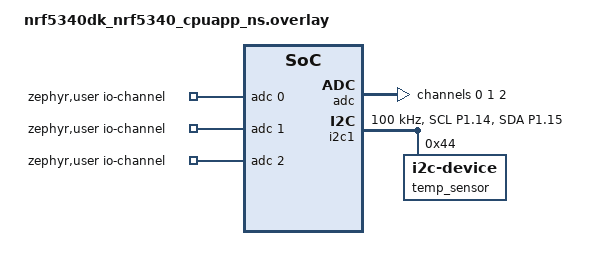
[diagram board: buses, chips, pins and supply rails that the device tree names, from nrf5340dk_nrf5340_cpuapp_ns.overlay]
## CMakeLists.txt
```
cmake_minimum_required(VERSION 3.20.0)
find_package(Zephyr REQUIRED HINTS $ENV{ZEPHYR_BASE})

project(firmware)

target_sources(app PRIVATE src/main.c)
target_sources_ifdef(CONFIG_MILLIMOBILE_MODE_SWITCHING app PRIVATE src/mode.c)
target_sources_ifdef(CONFIG_MILLIMOBILE_ADV app PRIVATE src/adv.c)
target_sources_ifdef(CONFIG_MILLIMOBILE_SYNC app PRIVATE src/sync.c)
target_sources_ifdef(CONFIG_MILLIMOBILE_CMD app PRIVATE src/cmdParser.c)
```

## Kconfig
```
source "Kconfig.zephyr"
menu "MilliMobile"

config MILLIMOBILE_MODE_SWITCHING
	bool "Enable Mode Switching"
	default n

config MILLIMOBILE_ADV
	bool "Enable Advertisement"
	depends on MILLIMOBILE_MODE_SWITCHING
	default n

config MILLIMOBILE_SYNC
	bool "Enable Sync"
	depends on MILLIMOBILE_MODE_SWITCHING
	default n

config MILLIMOBILE_CMD
	bool "Enable command parsing"
	depends on MILLIMOBILE_MODE_SWITCHING
	default n

config MILLIMOBILE_DEV_KIT
	bool "Enable devkit options"
	select LOGGING
	default n

config MILLIMOBILE_BOT
	bool "Enable bot options"
	depends on !MILLIMOBILE_DEV_KIT
	select ADC
	select GPIO
	default n  

config LOGGING
	bool "Enable Logging"
	select LOG
	select LOG_BACKEND_SHOW_COLOR
	select LOG_PRINTK
	default n

config RTT
	bool "Enable RTT"
	select RTT_CONSOLE
	select USE_SEGGER_RTT
	select LOG_BACKEND_RTT
	select LOGGING
endmenu
```

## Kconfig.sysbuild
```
#
# Copyright (c) 2023 Nordic Semiconductor
#
# SPDX-License-Identifier: LicenseRef-Nordic-5-Clause
#

source "${ZEPHYR_BASE}/share/sysbuild/Kconfig"

config NRF_DEFAULT_IPC_RADIO
	default y
```

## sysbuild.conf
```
#
# Copyright (c) 2024 Nordic Semiconductor
#
# SPDX-License-Identifier: LicenseRef-Nordic-5-Clause
#
SB_CONFIG_NETCORE_IPC_RADIO=y
SB_CONFIG_NETCORE_IPC_RADIO_BT_HCI_IPC=y
```

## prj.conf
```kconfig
CONFIG_GPIO=y
CONFIG_ADC=y
CONFIG_I2C=y

CONFIG_CBPRINTF_FP_SUPPORT=y

CONFIG_TFM_SECURE_UART=n
CONFIG_TFM_LOG_LEVEL_SILENCE=y

CONFIG_BT=y
CONFIG_BT_OBSERVER=y
CONFIG_BT_BROADCASTER=y
CONFIG_BT_PER_ADV=y
CONFIG_BT_EXT_ADV=y
CONFIG_BT_PER_ADV_SYNC=y
CONFIG_BT_DEVICE_NAME="MilliMobile"

CONFIG_BT_MAX_CONN=1
CONFIG_BT_PERIPHERAL=y
CONFIG_BT_CENTRAL=y
CONFIG_BT_PER_ADV_SYNC_TRANSFER_SENDER=y
CONFIG_BT_PER_ADV_SYNC_TRANSFER_RECEIVER=y

CONFIG_BT_PER_ADV_RSP=y
CONFIG_BT_PER_ADV_SYNC_RSP=y
CONFIG_BT_PER_ADV_SYNC_BUF_SIZE=247

CONFIG_BT_REMOTE_INFO=y
CONFIG_BT_GATT_CLIENT=y

CONFIG_MILLIMOBILE_MODE_SWITCHING=y
CONFIG_MILLIMOBILE_ADV=y
CONFIG_MILLIMOBILE_SYNC=y
CONFIG_MILLIMOBILE_CMD=y
```

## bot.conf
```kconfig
# bot.conf
# Configuration file for the Millimobile bot. Add this 
# to the "extra Kconfig fragments" option in the build configuration

# Select the bot profile from Kconfig
CONFIG_MILLIMOBILE_BOT=y

# Disable the serial console to achieve low power
CONFIG_SERIAL=n
CONFIG_UART_CONSOLE=n

# If you need logging set the config below
# to enable (=y) RTT communication
CONFIG_RTT=n
```

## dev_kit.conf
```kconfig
# dev_kit.conf

# Select the dev kit profile from Kconfig
CONFIG_MILLIMOBILE_DEV_KIT=y

# Enable the UART console for debugging and log output
CONFIG_SERIAL=y
CONFIG_UART_CONSOLE=y
CONFIG_LOG_BACKEND_UART=y
```

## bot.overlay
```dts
&uart0 {
    status = "disabled";
};

&uart1 {
    status = "disabled";
};
```

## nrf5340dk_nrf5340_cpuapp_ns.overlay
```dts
// To get started, press Ctrl+Space to bring up the completion menu and view the available nodes.

// You can also use the buttons in the sidebar to perform actions on nodes.
// Actions currently available include:

// * Enabling / disabling the node
// * Adding the bus to a bus
// * Removing the node
// * Connecting ADC channels

// For more help, browse the DeviceTree documentation at https://docs.zephyrproject.org/latest/guides/dts/index.html
// You can also visit the nRF DeviceTree extension documentation at https://docs.nordicsemi.com/bundle/nrf-connect-vscode/page/guides/ncs_configure_app.html#devicetree-support-in-the-extension
// To get started, press Ctrl+Space (or Option+Esc) to bring up the completion menu and view the available nodes.

// You can also use the buttons in the sidebar to perform actions on nodes.
// Actions currently available include:

// * Enabling / disabling the node
// * Adding the bus to a bus
// * Removing the node
// * Connecting ADC channels

// For more help, browse the DeviceTree documentation at https://docs.zephyrproject.org/latest/guides/dts/index.html
// You can also visit the nRF DeviceTree extension documentation at https://nrfconnect.github.io/vscode-nrf-connect/devicetree/nrfdevicetree.html
/ {
	zephyr,user {
		io-channels = <&adc 0>, <&adc 1>, <&adc 2>;
	};
};

&adc {
	#address-cells = <1>;
	#size-cells = <0>;

	channel@0 {
		reg = <0>;
		zephyr,gain = "ADC_GAIN_1_6";
		zephyr,reference = "ADC_REF_INTERNAL";
		zephyr,acquisition-time = <ADC_ACQ_TIME(ADC_ACQ_TIME_MICROSECONDS, 40)>;
		zephyr,input-positive = <NRF_SAADC_AIN0>;
        zephyr,resolution = < 12 >;
	};

	channel@1 {
		reg = <1>;
		zephyr,gain = "ADC_GAIN_1_6";
		zephyr,reference = "ADC_REF_INTERNAL";
		zephyr,acquisition-time = <ADC_ACQ_TIME(ADC_ACQ_TIME_MICROSECONDS, 40)>;
		zephyr,input-positive = <NRF_SAADC_AIN1>;
        zephyr,resolution = < 12 >;
	};

	channel@2 {
		reg = <2>;
		zephyr,gain = "ADC_GAIN_1_6";
		zephyr,reference = "ADC_REF_INTERNAL";
		zephyr,acquisition-time = <ADC_ACQ_TIME(ADC_ACQ_TIME_MICROSECONDS, 40)>;
		zephyr,input-positive = <NRF_SAADC_AIN2>;
        zephyr,resolution = < 12 >;
	};
};

&i2c1 { //Driver for I2C device

    clock-frequency = <I2C_BITRATE_STANDARD>; //Set clock frequency to 100 kHz
    status = "okay";
    pinctrl-0 = <&i2c1_default>;
	pinctrl-1 = <&i2c1_sleep>;
    pinctrl-names = "default", "sleep";

    hdc3022: hdc3022r@44{ //Defines device and SDA register
        compatible = "i2c-device";
        reg = < 0x44 >;
        label = "temp_sensor";
    };
};

&pinctrl { //Set pins for I2C device connection
	/omit-if-no-ref/ i2c1_default: i2c1_default {
		group1  {
			psels = <NRF_PSEL(TWIM_SCL, 1, 14)>,
					<NRF_PSEL(TWIM_SDA, 1, 15)>;
		};
	};
	/omit-if-no-ref/ i2c1_sleep: i2c1_sleep {
		group1  {
			psels = <NRF_PSEL(TWIM_SCL, 1, 14)>,
					<NRF_PSEL(TWIM_SDA, 1, 15)>;
			low-power-enable;
		};
	};
};
```

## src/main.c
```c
#ifdef CONFIG_MILLIMOBILE_ADV
        #include "adv.h"
#endif
#ifdef CONFIG_MILLIMOBILE_SYNC
        #include "sync.h"
#endif
#ifdef CONFIG_MILLIMOBILE_MODE_SWITCHING
        #include "mode.h"
#endif
#ifdef CONFIG_MILLIMOBILE_CMD
        #include "cmdParser.h"
        uint8_t command = 0; // Default to temp sensor mode
#endif

#include <zephyr/kernel.h>
#include <zephyr/device.h>
#include <zephyr/devicetree.h>
#include <zephyr/logging/log.h>
#include <zephyr/bluetooth/bluetooth.h>
#include <zephyr/bluetooth/gap.h>
#include <zephyr/drivers/gpio.h>
#include <zephyr/pm/pm.h>
#include <zephyr/device.h>
#include <zephyr/sys/printk.h>
#include <zephyr/sys/time_units.h>

#include <zephyr/logging/log.h>
LOG_MODULE_REGISTER(Main,LOG_LEVEL_DBG);

/*Timing Constraints
ADC_TIME must be greater than the time it takes to read all ADC channels. readADC() is called ADC_TIME ms before robot_step() is called
MOTOR_SHUTOFF_TIME is the time the motors are left turned on after being triggered. This value must be smaller than ROBOT_STEP_TIME - ADC_TIME, 
        otherwise the ADC will be reading the motor capacitors while they are still being discharged
ROBOT_STEP_TIME is the time between robot steps. 
*/

//TIMING (all ms)
#define ADC_TIME 10 // Time delay to allow ADC reads of all channels
#define MOTOR_SHUTOFF_TIME 1 // Time delay to shutoff motors after being triggered
#define ROBOT_STEP_TIME 500 // Time delay between robot steps

// Define pins/state for capacitors
uint16_t cap_switch_state = 0; // 0: to supercap, 1: to motor cap
const struct device *gpio0;
const struct device *gpio1;
#define CAP_SWITCH_PIN 23  // gpio 0
#define MOTOR_1_CAP_PIN 13 // gpio 1
#define MOTOR_2_CAP_PIN 21 // gpio 0


int initCapGPIO()
{
        gpio0 = device_get_binding(DEVICE_DT_NAME(DT_NODELABEL(gpio0)));
        gpio1 = device_get_binding(DEVICE_DT_NAME(DT_NODELABEL(gpio1)));


        int cap_switch_pin_err;
        cap_switch_pin_err = gpio_pin_configure(gpio0, CAP_SWITCH_PIN, GPIO_OUTPUT | GPIO_OUTPUT_INIT_LOW);
        if(cap_switch_pin_err < 0) return -1;

#ifdef CONFIG_MILLIMOBILE_BOT
        int motor_1_cap_pin_err;
        int motor_2_cap_pin_err;
        motor_1_cap_pin_err = gpio_pin_configure(gpio1, MOTOR_1_CAP_PIN, GPIO_OUTPUT | GPIO_OUTPUT_INIT_LOW);
        motor_2_cap_pin_err = gpio_pin_configure(gpio0, MOTOR_2_CAP_PIN, GPIO_OUTPUT | GPIO_OUTPUT_INIT_LOW);
        if (motor_1_cap_pin_err < 0 || motor_2_cap_pin_err < 0) return -1;
#endif
       // printk("GPIO initialized\n");

        return 0;
}


#ifdef CONFIG_MILLIMOBILE_BOT

// Motion State (Left, Right, Straight)
#define STRAIGHT 0
#define LEFT 1
#define RIGHT 2
#define STOP 3
uint16_t motion_state = STRAIGHT;

void robot_step(struct k_work *work);

K_WORK_DEFINE(robot_step_work, robot_step);

void robot_step_timer_handler(struct k_timer *dummy)
{
        k_work_submit(&robot_step_work);
}
K_TIMER_DEFINE(robot_step_timer, robot_step_timer_handler, NULL);

void motorShutoff(struct k_work *work)
{
        gpio_pin_set(gpio1, MOTOR_1_CAP_PIN, 0);
        gpio_pin_set(gpio0, MOTOR_2_CAP_PIN, 0);
}

K_WORK_DEFINE(motor_shutoff_work, motorShutoff);

void motor_shutoff_timer_handler(struct k_timer *dummy)
{
        k_work_submit(&motor_shutoff_work);
}
K_TIMER_DEFINE(motor_shutoff_timer, motor_shutoff_timer_handler, NULL);


void robot_step(struct k_work *work)
{       
        if(adc_outputs_mv[SUPER_CAP_IDX] <= SUPER_CAP_THRESHOLD){
                gpio_pin_set(gpio0, CAP_SWITCH_PIN, 0);
                //printk("Switching to supercap\n");
        }
        else
        {
                gpio_pin_set(gpio0, CAP_SWITCH_PIN, 1);
                //printk("Switching to motor caps\n");
                if(adc_outputs_mv[MOTOR_CAP_0_IDX] >= MOTOR_CAP_RELEASE_THRESHOLD && adc_outputs_mv[MOTOR_CAP_1_IDX] >= MOTOR_CAP_RELEASE_THRESHOLD){
                        switch (motion_state)
                        {
                        case STRAIGHT:
                                gpio_pin_set(gpio1, MOTOR_1_CAP_PIN, 1);
                                gpio_pin_set(gpio0, MOTOR_2_CAP_PIN, 1);
                                break;
                        
                        case LEFT:
                                gpio_pin_set(gpio0, MOTOR_2_CAP_PIN, 1);                    
                                break;
                        case RIGHT:
                                gpio_pin_set(gpio1, MOTOR_1_CAP_PIN, 1);
                                break;
                        case STOP:
                                /* do nothing lol */
                                break;
                        default:
                                break;  
                        }
                       // printk("motors triggered\n");
                        
                        k_timer_start(&motor_shutoff_timer, K_MSEC(MOTOR_SHUTOFF_TIME), K_NO_WAIT);
                }
        }
        k_timer_start(&adc_timer, K_MSEC(ROBOT_STEP_TIME - ADC_TIME), K_NO_WAIT);
        k_timer_start(&robot_step_timer, K_MSEC(ROBOT_STEP_TIME), K_NO_WAIT);
        //printk("Robot Step\n");
        return;
}
#endif


#ifdef CONFIG_MILLIMOBILE_DEV_KIT

#define SW0_NODE DT_ALIAS(sw0)
#define SW1_NODE DT_ALIAS(sw1)
#define SW2_NODE DT_ALIAS(sw2)
#define SW3_NODE DT_ALIAS(sw3)

static const struct gpio_dt_spec buttons[] = {
    GPIO_DT_SPEC_GET(SW0_NODE, gpios),
    GPIO_DT_SPEC_GET(SW1_NODE, gpios),
    GPIO_DT_SPEC_GET(SW2_NODE, gpios),
    GPIO_DT_SPEC_GET(SW3_NODE, gpios),
};

static struct gpio_callback button_cbs[ARRAY_SIZE(buttons)];

/* Callback for button 0 */
void button0_pressed(const struct device *dev, struct gpio_callback *cb, uint32_t pins){
        k_poll_signal_raise(&mode_switch_signal, 0);
        current_power_mode = POWER_LOW_MODE_NONE;
        printk("Button 0 pressed, new mode: %d\n", current_power_mode);
}

/* Callback for button 1 */
void button1_pressed(const struct device *dev, struct gpio_callback *cb, uint32_t pins){
        k_poll_signal_raise(&mode_switch_signal, 0);
        current_power_mode = POWER_MED_MODE_SYNC;
        printk("Button 1 pressed, new mode: %d\n", current_power_mode);
}


/* Callback for button 2 */
void button2_pressed(const struct device *dev, struct gpio_callback *cb, uint32_t pins){
        k_poll_signal_raise(&mode_switch_signal, 0);
        current_power_mode = POWER_HIGH_MODE_SYNC;
        printk("Button 2 pressed, new mode: %d\n", current_power_mode);
}

/* Callback for button 3 */
void button3_pressed(const struct device *dev, struct gpio_callback *cb, uint32_t pins){
        k_poll_signal_raise(&mode_switch_signal, 0);
        current_power_mode = POWER_HIGH_MODE_ADV;
        printk("Button 3 pressed, new mode: %d\n", current_power_mode);
}

/* Array of function pointers for button callbacks */
void (*button_callbacks[])(const struct device *, struct gpio_callback *, uint32_t) = {
    button0_pressed,
    button1_pressed,
    button2_pressed,
    button3_pressed,
};

static int init_buttons(void)
{
    for (int i = 0; i < ARRAY_SIZE(buttons); i++) {
        const struct gpio_dt_spec *btn = &buttons[i];

        if (!device_is_ready(btn->port)) {
            printk("Error: button %d port %s not ready\n", i, btn->port->name);
            return -1;
        }

        /* configure as input with interrupt on active edge */
        gpio_pin_configure_dt(btn, GPIO_INPUT);

        gpio_init_callback(&button_cbs[i], button_callbacks[i], BIT(btn->pin));
        gpio_add_callback(btn->port, &button_cbs[i]);
        gpio_pin_interrupt_configure_dt(btn, GPIO_INT_LEVEL_ACTIVE);
    }
    return 0;
}


#endif



// Global state 
int main(void){
        printk("Millimobile main started\n");
        int ret;

        if (initCapGPIO() != 0) return -1;

	if (initMode() != 0) return -1;

#ifdef CONFIG_MILLIMOBILE_DEV_KIT
        if(init_buttons() != 0) return -1;
#endif
	k_timer_start(&adc_timer, K_MSEC(ADC_TIME), K_NO_WAIT);

#ifdef CONFIG_MILLIMOBILE_BOT
        k_timer_start(&robot_step_timer, K_MSEC(ADC_TIME*2), K_NO_WAIT);
#endif
        /* Initialize the Bluetooth Subsystem */
	ret = bt_enable(NULL);
	if (ret) {
		LOG_ERR("Bluetooth init failed (err %d)", ret);
		return -1;
	}     
       
        current_power_mode = POWER_MED_MODE_SYNC; 
        LOG_INF("Entering main loop, current power mode: %d", current_power_mode);
        while(1){
                LOG_INF("BEGINNING WHILE LOOP MAIN");
                if(current_power_mode == POWER_LOW_MODE_NONE){
                        LOG_INF("Power mode is low, continue");
                }else if (current_power_mode == POWER_MED_MODE_SYNC || current_power_mode == POWER_HIGH_MODE_SYNC){
                        LOG_INF("Power mode is medium, starting sync thread");
                        sync_thread();
                }else if (current_power_mode == POWER_HIGH_MODE_ADV){
                        LOG_INF("Power mode is high, starting adv thread");
                        adv_thread();
                }
                LOG_INF("BEFORE KSLEEP MAIN");
                k_sleep(K_MSEC(2000));
                LOG_INF("After ksleep");

        }
}
```

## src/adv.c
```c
#include "adv.h"

#include <zephyr/logging/log.h>
LOG_MODULE_REGISTER(Advertizer,LOG_LEVEL_DBG);

static bool is_shutting_down = false;

static K_SEM_DEFINE(sem_connected, 0, 1);
static K_SEM_DEFINE(sem_discovered, 0, 1);
static K_SEM_DEFINE(sem_written, 0, 1);
static K_SEM_DEFINE(sem_disconnected, 0, 1);

static struct k_poll_event events[] = {
	K_POLL_EVENT_STATIC_INITIALIZER(K_POLL_TYPE_SEM_AVAILABLE, K_POLL_MODE_NOTIFY_ONLY,
					&sem_connected, 0),
	K_POLL_EVENT_STATIC_INITIALIZER(K_POLL_TYPE_SEM_AVAILABLE, K_POLL_MODE_NOTIFY_ONLY,
					&sem_disconnected, 0),
	K_POLL_EVENT_STATIC_INITIALIZER(K_POLL_TYPE_SIGNAL, K_POLL_MODE_NOTIFY_ONLY,
					&mode_switch_signal, 0),
};

static struct bt_uuid_128 pawr_char_uuid =
	BT_UUID_INIT_128(BT_UUID_128_ENCODE(0x12345678, 0x1234, 0x5678, 0x1234, 0x56789abcdef1));
static uint16_t pawr_attr_handle;

// This struct defines the timing schedule for the PAwR broadcast
static const struct bt_le_per_adv_param per_adv_params = {
	// The main interval for the entire advertising event.
	// Value is in units of 1.25 ms. Ex. 0x320 = 800 * 1.25ms = 1000ms.
	.interval_min = 0x320, 
	.interval_max = 0x320,
	.options = 0,
	// The number of distinct data broadcasts (subevents) within each main interval.
	.num_subevents = NUM_SUBEVENTS,
	// The time between the start of each subevent. (Units of 1.25 ms)
	.subevent_interval = 0x10,
	// The delay after a subevent broadcast before the first response slot opens. 
	// (Units of 1.25 ms)
	.response_slot_delay = 0x5,
	// The time between the start of consecutive response slots.
	// (Units of 1.25 ms)
	.response_slot_spacing = 0x5,
	// The number of response slots available after each subevent.
	.num_response_slots = NUM_RSP_SLOTS,
};

// This struct defines the parameters for a low-power, passive BLE scan.
static struct bt_le_scan_param low_power_passive_scan_params = {
    // The scanner will only listen for advertisements
    .type       = BT_LE_SCAN_TYPE_PASSIVE,

    // This option filters out duplicate
    // advertising packets. The 'device_found' callback will only be called
    // once for each unique device discovered.
    .options    = BT_LE_SCAN_OPT_FILTER_DUPLICATE,

    // This sets the scan interval. Value is in units of .625 ms.
    .interval   = BT_GAP_SCAN_FAST_INTERVAL * 4.25,

    // This sets the scan window. Units of .625 ms.
    .window     = BT_GAP_SCAN_FAST_WINDOW * 4.25,
};

static struct bt_le_per_adv_subevent_data_params subevent_data_params[NUM_SUBEVENTS];
static struct net_buf_simple bufs[NUM_SUBEVENTS];
static uint8_t backing_store[NUM_SUBEVENTS][PACKET_SIZE];

BUILD_ASSERT(ARRAY_SIZE(bufs) == ARRAY_SIZE(subevent_data_params));
BUILD_ASSERT(ARRAY_SIZE(backing_store) == ARRAY_SIZE(subevent_data_params));

typedef struct{
	uint32_t heartbeat;
	bool free;
} subevent_state_t;
static subevent_state_t subevent_states[NUM_SUBEVENTS] = {0};
static int heartbeat_threshold = 5;
static uint8_t num_synced;
K_MUTEX_DEFINE(set_subevent);

static inline bool check_for_lost_connections(){
	bool lost = false;
	for(int i = 0; i < NUM_SUBEVENTS; i ++){
		if(subevent_states[i].heartbeat >= heartbeat_threshold && !subevent_states[i].free){
			num_synced --;
			subevent_states[i].free = true;
			subevent_states[i].heartbeat = 0;
			lost = true;
		}
	}
	return lost;
}


static int counter = 0;

#if defined(CONFIG_MILLIMOBILE_CMD)
// command variable from main
extern uint8_t command;
#endif

static void request_cb(struct bt_le_ext_adv *adv, const struct bt_le_per_adv_data_request *request){
	int err;
	uint8_t to_send;
	struct net_buf_simple *buf;

	to_send = MIN(request->count, ARRAY_SIZE(subevent_data_params));

	for (size_t i = 0; i < to_send; i++) {
		buf = &bufs[i];
		/* Data being sent to the sync device, and then sent back*/
		// Original: buf->data[buf->len - 1] = counter++;
		buf->data[buf->len - 1] = command;
		size_t idx = (request->start + i) % per_adv_params.num_subevents;
		subevent_data_params[i].subevent = idx;
		subevent_data_params[i].response_slot_start = 0;
		subevent_data_params[i].response_slot_count = NUM_RSP_SLOTS;
		subevent_data_params[i].data = buf;

		err = k_mutex_lock(&set_subevent, K_NO_WAIT);
		if(err != 0) continue;
		if(!subevent_states[idx].free){
			subevent_states[idx].heartbeat++;
		}
		check_for_lost_connections();

		k_mutex_unlock(&set_subevent);

	}


	err = bt_le_per_adv_set_subevent_data(adv, to_send, subevent_data_params);
	if (err) {
		printk("Failed to set subevent data (err %d)\n", err);
	} else {
		printk("Subevent data set %d\n", counter);
	}
}

static bool print_ad_field(struct bt_data *data, void *user_data){
	ARG_UNUSED(user_data);

	printk("    0x%02X: ", data->type);
	for (size_t i = 0; i < data->data_len; i++) {
		printk("%02X", data->data[i]);
	}
	printk("\n");

	return true;
}

static struct bt_conn *default_conn;

static void response_cb(struct bt_le_ext_adv *adv, struct bt_le_per_adv_response_info *info,
		     struct net_buf_simple *buf){
	if (buf) {
		int err = k_mutex_lock(&set_subevent, K_NO_WAIT);
		if(err != 0) return;
		if(!subevent_states[info->subevent].free){
			subevent_states[info->subevent].heartbeat = 0;
		}
		k_mutex_unlock(&set_subevent);

		printk("Response: subevent %d, slot %d\n", info->subevent, info->response_slot);
		// Begin Debug
		uint8_t result = buf->data[buf->len - 1];
		printk("Received data: %d", result);
		// End Debug
		bt_data_parse(buf, print_ad_field, NULL);
	}
}

static const struct bt_le_ext_adv_cb adv_cb = {
	.pawr_data_request = request_cb,
	.pawr_response = response_cb,
};

void connected_cb(struct bt_conn *conn, uint8_t err){
	if (is_shutting_down) {
		LOG_WRN("Connection callback ignored: adv_thread is shutting down.");
		return;
	}

	printk("Connected (err 0x%02X)\n", err);

	__ASSERT(conn == default_conn, "Unexpected connected callback");

	if (err) {
		bt_conn_unref(default_conn);
		default_conn = NULL;
	}
}

void disconnected_cb(struct bt_conn *conn, uint8_t reason){
	printk("Disconnected, reason 0x%02X %s\n", reason, bt_hci_err_to_str(reason));
	k_sem_give(&sem_disconnected);
}

void remote_info_available_cb(struct bt_conn *conn, struct bt_conn_remote_info *remote_info){
	/* Need to wait for remote info before initiating PAST */
	k_sem_give(&sem_connected);
}

/*
BT_CONN_CB_DEFINE(conn_cb) = {
	.connected = connected_cb,
	.disconnected = disconnected_cb,
	.remote_info_available = remote_info_available_cb,
};
*/

static struct bt_conn_cb adv_conn_cb = {
	.connected = connected_cb,
	.disconnected = disconnected_cb,
	.remote_info_available = remote_info_available_cb,
};

static bool data_cb(struct bt_data *data, void *user_data){
	char *name = user_data;
	uint8_t len;

	switch (data->type) {
	case BT_DATA_NAME_SHORTENED:
	case BT_DATA_NAME_COMPLETE:
		len = MIN(data->data_len, NAME_LEN - 1);
		memcpy(name, data->data, len);
		name[len] = '\0';
		return false;
	default:
		return true;
	}
}

static void device_found(const bt_addr_le_t *addr, int8_t rssi, uint8_t type,
			 struct net_buf_simple *ad){
	char addr_str[BT_ADDR_LE_STR_LEN];
	char name[NAME_LEN];
	int err;

	// Device found as mode switch initiated. 
	if(is_shutting_down) {
		return;
	}

	if (default_conn) {
		return;
	}

	/* We're only interested in connectable events */
	if (type != BT_GAP_ADV_TYPE_ADV_IND && type != BT_GAP_ADV_TYPE_ADV_DIRECT_IND) {
		return;
	}

	(void)memset(name, 0, sizeof(name));
	bt_data_parse(ad, data_cb, name);

	if (strcmp(name, "MilliMobile")) {
		return;
	}

	if (bt_le_scan_stop()) {
		return;
	}

	err = bt_conn_le_create(addr, BT_CONN_LE_CREATE_CONN, BT_LE_CONN_PARAM_DEFAULT,
				&default_conn);
	if (err) {
		printk("Create conn to %s failed (%u)\n", addr_str, err);
	}
}

static uint8_t discover_func(struct bt_conn *conn, const struct bt_gatt_attr *attr,
			     struct bt_gatt_discover_params *params){
	struct bt_gatt_chrc *chrc;
	char str[BT_UUID_STR_LEN];

	printk("Discovery: attr %p\n", attr);

	if (!attr) {
		return BT_GATT_ITER_STOP;
	}

	chrc = (struct bt_gatt_chrc *)attr->user_data;

	bt_uuid_to_str(chrc->uuid, str, sizeof(str));
	printk("UUID %s\n", str);

	if (!bt_uuid_cmp(chrc->uuid, &pawr_char_uuid.uuid)) {
		pawr_attr_handle = chrc->value_handle;
		printk("Characteristic handle: %d\n", pawr_attr_handle);
		k_sem_give(&sem_discovered);
	}

	return BT_GATT_ITER_STOP;
}

static void write_func(struct bt_conn *conn, uint8_t err, struct bt_gatt_write_params *params){
	if (err) {
		printk("Write failed (err %d)\n", err);
		return;
	}

	k_sem_give(&sem_written);
}

void init_bufs(void){
	for (size_t i = 0; i < ARRAY_SIZE(backing_store); i++) {
		backing_store[i][0] = ARRAY_SIZE(backing_store[i]) - 1;
		backing_store[i][1] = BT_DATA_MANUFACTURER_DATA;
		backing_store[i][2] = 0x59; /* Nordic */
		backing_store[i][3] = 0x00;

		net_buf_simple_init_with_data(&bufs[i], &backing_store[i],
					      ARRAY_SIZE(backing_store[i]));
	}
}

void adv_thread(void){
	int err;
	struct bt_le_ext_adv *pawr_adv;
	struct bt_gatt_discover_params discover_params;
	struct bt_gatt_write_params write_params;
	struct pawr_timing sync_config;

	is_shutting_down = false;
	num_synced = 0;
	for(int i = 0; i < NUM_SUBEVENTS; i ++){
		subevent_states[i].heartbeat = 0;
		subevent_states[i].free = true;
	}


	// Register the callbacks
	bt_conn_cb_register(&adv_conn_cb);

	init_bufs();
	k_poll_signal_reset(events[2].signal);

	LOG_INF("'adv_thread' has started");

	/* Create a non-connectable advertising set */
	err = bt_le_ext_adv_create(BT_LE_EXT_ADV_NCONN, &adv_cb, &pawr_adv);
	if (err) {
		LOG_ERR("Failed to create advertising set (err %d)", err);
		return ;
	}

	/* Set periodic advertising parameters */
	err = bt_le_per_adv_set_param(pawr_adv, &per_adv_params);
	if (err) {
		LOG_ERR("Failed to set periodic advertising parameters (err %d)", err);
		return ;
	}

	/* Enable Periodic Advertising */
	LOG_INF("Start Periodic Advertising");
	err = bt_le_per_adv_start(pawr_adv);
	if (err) {
		LOG_ERR("Failed to enable periodic advertising (err %d)", err);
		return ;
	}

	LOG_INF("Start Extended Advertising");
	err = bt_le_ext_adv_start(pawr_adv, BT_LE_EXT_ADV_START_DEFAULT);
	if (err) {
		LOG_ERR("Failed to start extended advertising (err %d)", err);
		return ;
	}

start_connection:
	while (num_synced < MAX_SYNCS) {

		/* Enable passive scanning */
		err = bt_le_scan_start(&low_power_passive_scan_params, device_found);
		if (err) {
			LOG_WRN("Scanning failed to start (err %d)", err);
			return ;
		}

		LOG_INF("Scanning successfully started");

		/* Wait for either remote info available or involuntary disconnect */
		err = k_poll(events, ARRAY_SIZE(events), K_FOREVER);
		if(err != 0) return;		

		if (events[2].signal->signaled){
			k_poll_signal_reset(events[2].signal);
			goto mode_switch;
		}	

		err = k_sem_take(&sem_connected, K_NO_WAIT);
		if (err) {
			LOG_WRN("Disconnected before remote info available");
			goto disconnected;
		}
		
		err = bt_le_per_adv_set_info_transfer(pawr_adv, default_conn, 0);
		if (err) {
			LOG_WRN("Failed to send PAST (err %d)", err);
			goto disconnect;
		}

		LOG_INF("PAST sent");

		discover_params.uuid = &pawr_char_uuid.uuid;
		discover_params.func = discover_func;
		discover_params.start_handle = BT_ATT_FIRST_ATTRIBUTE_HANDLE;
		discover_params.end_handle = BT_ATT_LAST_ATTRIBUTE_HANDLE;
		discover_params.type = BT_GATT_DISCOVER_CHARACTERISTIC;
		err = bt_gatt_discover(default_conn, &discover_params);
		if (err) {
			LOG_WRN("Discovery failed (err %d)", err);
			goto disconnect;
		}

		LOG_INF("Discovery started");

		err = k_sem_take(&sem_discovered, K_SECONDS(10));
		if (err) {
			LOG_WRN("Timed out during GATT discovery");
			goto disconnect;
		}

		// find a free subevent and allocate it to the sync
		err = k_mutex_lock(&set_subevent, K_NO_WAIT);	
		if(err == 0){
			for(int i = 0; i < NUM_SUBEVENTS; i ++){
				if(subevent_states[i].free){
					sync_config.subevent = i;
					subevent_states[i].free = false;
					subevent_states[i].heartbeat = 0;
					num_synced ++;
					break;
				}
			}
		}
		k_mutex_unlock(&set_subevent);
		sync_config.response_slot = 0; 

		write_params.func = write_func;
		write_params.handle = pawr_attr_handle;
		write_params.offset = 0;
		write_params.data = &sync_config;
		write_params.length = sizeof(sync_config);

		err = bt_gatt_write(default_conn, &write_params);
		if (err) {
			LOG_WRN("Write failed (err %d)", err);
			goto disconnect;
		}

		LOG_INF("Write started");

		err = k_sem_take(&sem_written, K_SECONDS(10));
		if (err) {
			LOG_WRN("Timed out during GATT write");
			// might not need to decrement
			//num_synced--;
			goto disconnect;

		}

		LOG_WRN("PAwR config written to sync %d, disconnecting", num_synced - 1);

disconnect:
		/* Adding delay (2ms * interval value, using 2ms intead of the 1.25ms
		 * used by controller) to ensure sync is established before
		 * disconnection.
		 */
		k_sleep(K_MSEC(per_adv_params.interval_max * 2));

		err = bt_conn_disconnect(default_conn, BT_HCI_ERR_REMOTE_USER_TERM_CONN);
		if (err != 0 && err != -ENOTCONN) {
        	LOG_ERR("Fatal disconnect error (%d). Forcing full cleanup.", err);
			goto mode_switch; // Redirect to the  cleanup block.
		}

disconnected:
		k_sem_take(&sem_disconnected, K_FOREVER);

		bt_conn_unref(default_conn);
		default_conn = NULL;

	}

	LOG_INF("Maximum number of syncs onboarded");
	while (num_synced == MAX_SYNCS) {
		LOG_INF("Number of synced devices: %d\n", num_synced);
		err = k_poll(&events[2], 1, K_SECONDS(10));
		if (err == 0 && events[2].signal->signaled) {
			k_poll_signal_reset(events[2].signal);
			goto mode_switch;
		}
	}
	goto start_connection;

mode_switch:
		is_shutting_down = true;

		LOG_INF("Power mode is low, exiting");
		bt_le_ext_adv_stop(pawr_adv);
		bt_le_per_adv_stop(pawr_adv);
		bt_le_ext_adv_delete(pawr_adv);
		bt_le_scan_stop();

		if (default_conn) {
			bt_conn_disconnect(default_conn, BT_HCI_ERR_REMOTE_USER_TERM_CONN);
			
			// Wait for the disconnection to be confirmed by the callback.
			// Add a timeout as a failsafe.
			if (k_sem_take(&sem_disconnected, K_SECONDS(2)) != 0) {
				LOG_WRN("Timeout waiting for disconnect confirmation.");
			}

			bt_conn_unref(default_conn);
			default_conn = NULL;
		}

		// Unregister callbacks
		bt_conn_cb_unregister(&adv_conn_cb);
		return ;
}
```

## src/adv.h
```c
#ifndef ADV_H
#define ADV_H

#include <zephyr/bluetooth/att.h>
#include <zephyr/bluetooth/bluetooth.h>
#include <zephyr/bluetooth/conn.h>
#include <zephyr/bluetooth/gatt.h>
#include <zephyr/bluetooth/hci.h>
#include "mode.h"

#define NUM_RSP_SLOTS 1
#define NUM_SUBEVENTS 2
#define PACKET_SIZE   5
#define NAME_LEN      30


#define MAX_SYNCS (NUM_SUBEVENTS * NUM_RSP_SLOTS)

struct pawr_timing {
	uint8_t subevent;
	uint8_t response_slot;
} __packed;

void disconnected_cb(struct bt_conn *conn, uint8_t reason);
void remote_info_available_cb(struct bt_conn *conn, struct bt_conn_remote_info *remote_info);
void init_bufs(void);
void connected_cb(struct bt_conn *conn, uint8_t err);
void adv_thread(void);
#endif
```

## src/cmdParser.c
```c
#include "cmdParser.h"

#include "sensor.c"

uint8_t parse_command(){
    //LOG_ERR("Beginning Comand Parsing");
    switch(command) {
        case 0:
            // Temperature
            return get_chip_temperature();
        case 1:
            // Standby
            return -1;
        case 2:
            // Capacitor
            return 0;   // Placeholder value
        case 3: 
            return i2c_get_temperature();
        default:
            // Default case - should never reach
            return 0;   // Placeholder value
    } 
};

int8_t get_chip_temperature(void){
    // This function reads the temperature from the onboard temperature sensor
    // returns the current temperature value in celsius formatted in hex
    int err = 0;
    struct net_buf *buf, *rsp = NULL;
    struct bt_hci_rp_vs_read_chip_temp *cmd_params;
    struct bt_hci_rp_vs_read_chip_temp *rsp_params;

    buf = bt_hci_cmd_create(BT_HCI_OP_VS_READ_CHIP_TEMP, sizeof(*cmd_params));
    if (!buf) {
        printk("Could not allocate command buffer");
        return -ENOMEM;
    }

    cmd_params = net_buf_add(buf, sizeof(*cmd_params));

    err = bt_hci_cmd_send_sync(BT_HCI_OP_VS_READ_CHIP_TEMP, buf, &rsp);
    if (err) {
        printk("bt_hci_cmd_send_sync failed (err: %d)",err);
        return err;
    }

    rsp_params = (void *) rsp->data;
    net_buf_unref(rsp);

    printk("Current Temp: %d \n", rsp_params->temps);

    return rsp_params->temps;
    /*
    // include/bluetooth/hci_vs.h
    #define BT_HCI_OP_VS_READ_CHIP_TEMP             BT_OP(BT_OGF_VS, 0x000b)
    struct bt_hci_rp_vs_read_chip_temp {
	    u8_t  status;
	    s8_t  temps;
    } __packed;
    */
}
```

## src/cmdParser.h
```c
#ifndef CMDPARSER_H
#define CMDPARSER_H
#include <zephyr/kernel.h>
#include <zephyr/bluetooth/hci_vs.h>

// command variable from main
extern uint8_t command;

uint8_t parse_command();
int8_t get_chip_temperature(void);


#endif
```

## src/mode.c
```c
#include "mode.h"
#include <stdlib.h>

// Global variable definitions
volatile power_mode_t current_power_mode = POWER_LOW_MODE_NONE; 
struct k_poll_signal mode_switch_signal;
int32_t adc_outputs_mv[ADC_CHANNEL_COUNT];  // Define the ADC output array

// Static variables
static int err;

/* Data of ADC io-channels specified in devicetree. */
const struct adc_dt_spec adc_channels[] = {
	DT_FOREACH_PROP_ELEM(DT_PATH(zephyr_user), io_channels,
			     DT_SPEC_AND_COMMA)
};
uint32_t count = 0;
uint16_t buf;
struct adc_sequence sequence = {
        .buffer = &buf,
        /* buffer size in bytes, not number of samples */
        .buffer_size = sizeof(buf),
        .resolution = 10,
};

// forward declarations

void adc_timer_handler(struct k_work *dummy);

K_WORK_DEFINE(adc_work, adc_timer_handler);

void adc_register_work(struct k_timer *dummy){
        k_work_submit(&adc_work);
}
K_TIMER_DEFINE(adc_timer, adc_register_work, NULL);


int initMode(){
        k_poll_signal_init(&mode_switch_signal);
       /* Configure channels individually prior to sampling. */
	for (size_t i = 0U; i < ARRAY_SIZE(adc_channels); i++) {
		if (!device_is_ready(adc_channels[i].dev)) {
			//printk("ADC controller device %s not ready\n", adc_channels[i].dev->name);
			return -1;
		}

		err = adc_channel_setup_dt(&adc_channels[i]);

		if (err < 0) {
			//printk("Could not setup channel #%d (%d)\n", i, err);
			return -1;
		}
	}
        return 0;
}

void readADC() //reads all ADC channels and stores mV outputs in adc_outputs_mv array
{
        //printk("ADC reading[%u]:\n", count++);
        for (size_t i = 0U; i < ARRAY_SIZE(adc_channels); i++) {

                //printk("- %s, channel %d: ",
                // adc_channels[i].dev->name,
                // adc_channels[i].channel_id);
                

                (void)adc_sequence_init_dt(&adc_channels[i], &sequence);

                err = adc_read(adc_channels[i].dev, &sequence);
                if (err < 0) {
                        //printk("Could not read (%d)\n", err);
                        continue;
                }

                /*
                        * If using differential mode, the 16 bit value
                        * in the ADC sample buffer should be a signed 2's
                        * complement value.
                        */
                if (adc_channels[i].channel_cfg.differential) {
                        adc_outputs_mv[i] = (int32_t)((int16_t)buf);
                } else {
                        adc_outputs_mv[i] = (int32_t)buf;
                }
                //printk("Raw Value: %d, ", adc_outputs_mv[i]);
                //adc_outputs_mv[i] = adc_raw_to_millivolts_dt(&adc_channels[i], &val);
                adc_raw_to_millivolts(adc_ref_internal(adc_channels[i].dev), adc_channels[i].channel_cfg.gain, adc_channels[i].resolution, &adc_outputs_mv[i]);
                //adc_outputs_mv[i] = (int32_t)buf;
                //printk("MV Value: %d\n", adc_outputs_mv[i]);
        }
}


void adc_timer_handler(struct k_work *dummy){
    // This function is called periodically to simulate ADC readings
    // In a real application, you would read from an ADC here
    // For this example, we will just print a message
    //printk("ADC Timer Handler: Simulating ADC reading\n");

    readADC(); // Checl ADC values
    int32_t adc_value = adc_outputs_mv[SUPER_CAP_IDX]; 
    power_mode_t new_mode;

    // Determine the power level (based on voltage)
    if(adc_value < 1000){
        new_mode = POWER_LOW_MODE_NONE;
    } else if(adc_value < 2000){
        new_mode = POWER_MED_MODE_SYNC;
    } else {
        // If voltage is high, the system should be in a high-power state.
        // If it's already in a high-power sub-state (_SYNC or _ADV),
        // we should not interfere with its role. 
        if (current_power_mode == POWER_HIGH_MODE_SYNC || current_power_mode == POWER_HIGH_MODE_ADV) {
            return; // Do nothing.
        }

        // If we are not already in a high-power state, transition into one. 
        new_mode = POWER_HIGH_MODE_SYNC;
    }

    // Signal a change if voltage level is different than the current one.
    if(new_mode != current_power_mode){
        current_power_mode = new_mode;
        k_poll_signal_raise(&mode_switch_signal, 0);
        printk("Super Cap Voltage is %d mv. ",adc_value);
        printk("Power mode changed to: %d\n", current_power_mode);
    }
}
```

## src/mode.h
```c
#ifndef MODE_H
#define MODE_H

#include <zephyr/kernel.h>
#include <stdbool.h>
#include <zephyr/drivers/adc.h>

// Devicetree validation
#if !DT_NODE_EXISTS(DT_PATH(zephyr_user)) || \
	!DT_NODE_HAS_PROP(DT_PATH(zephyr_user), io_channels)
#error "No suitable devicetree overlay specified"
#endif

// Devicetree macro for ADC channels
#define DT_SPEC_AND_COMMA(node_id, prop, idx) \
	ADC_DT_SPEC_GET_BY_IDX(node_id, idx),

// Constants for min val read on ADC for capacitor to discharge/recharge
#define SUPER_CAP_THRESHOLD_MV 2000 //190// Need to tune this value
#define MOTOR_CAP_RELEASE_THRESHOLD_MV 3000//310 //need to tune
#define SUPER_CAP_THRESHOLD (SUPER_CAP_THRESHOLD_MV / 2)
#define MOTOR_CAP_RELEASE_THRESHOLD (MOTOR_CAP_RELEASE_THRESHOLD_MV / 6)

#define SUPER_CAP_IDX 0
#define MOTOR_CAP_0_IDX 1
#define MOTOR_CAP_1_IDX 2

// ADC channel count (calculated from devicetree)
#define ADC_CHANNEL_COUNT DT_PROP_LEN(DT_PATH(zephyr_user), io_channels)

typedef enum{
    POWER_LOW_MODE_NONE,
    POWER_MED_MODE_SYNC,
    POWER_HIGH_MODE_SYNC,
    POWER_HIGH_MODE_ADV,
}power_mode_t;

extern volatile power_mode_t current_power_mode;
extern struct k_poll_signal mode_switch_signal;

// ADC MV Buffer - declare with proper size
extern int32_t adc_outputs_mv[ADC_CHANNEL_COUNT];

// ADC channels array
extern const struct adc_dt_spec adc_channels[];

extern struct k_timer adc_timer;

void adc_register_work(struct k_timer*);

void adc_timer_handler(struct k_work *timer_id);

int initMode();

void readADC();

#endif
```

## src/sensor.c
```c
#include "sensor.h"

#include <zephyr/devicetree.h>
#include <zephyr/drivers/i2c.h>
#include <zephyr/sys/printk.h>

#define I2C1_NODE DT_NODELABEL(hdc3022)
#define I2C_SPEED_STANDARD (0x1U)

static const struct i2c_dt_spec dev_i2c = I2C_DT_SPEC_GET(I2C1_NODE); //Defines I2C device

uint8_t device_status(void){
    //Checks if device is connected
    if (!device_is_ready(dev_i2c.bus)) {
        printk("I2C bus %s is not ready!\n\r",dev_i2c.bus->name);
        return 1;
    }
    return 0;
};

int8_t i2c_get_temperature(void){
    //Reads temperature and prints data
    if(device_status()){
        return 0;
    }

    uint8_t cmd[2] = {0x24, 0x00};//Writes command to I2C device register
    uint8_t rx_buf[6] = {0};//Holds sensor

    int ret = i2c_write_read_dt(&dev_i2c, cmd, sizeof(cmd), rx_buf, sizeof(rx_buf));

    if (ret < 0) {
        printk("i2c_write_read_dt failed: %d", ret);
        return 1;
    }

    uint16_t raw_temp = ((uint16_t)rx_buf[0] << 8) | rx_buf[1];//Raw data
    double temperature_c = ((float)raw_temp / 65536.0f) * 165.0f - 40.0f;//Converted to celsius
    double temperature_f = temperature_c * 1.8 + 32;//Converted to fahrenheit

    //printk("Temperature (Celsius): %.2f C\n", temperature_c);
    printk("Temperature (Fahrenheit): %.2f F\n", temperature_f);

    return temperature_f;
};
```

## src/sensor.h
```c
#ifndef SENSOR_H
#define SENSOR_H

int8_t i2c_get_temperature(void);
uint8_t device_status(void);

#endif
```

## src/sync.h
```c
#ifndef SYNC_H
#define SYNC_H
#include <zephyr/bluetooth/bluetooth.h>
#include <zephyr/bluetooth/conn.h>
#include <zephyr/bluetooth/gatt.h>
#include <zephyr/bluetooth/uuid.h>
#include <zephyr/bluetooth/hci.h>
#include <zephyr/sys/util.h>
#include "mode.h"
#include "cmdParser.h"

#define NAME_LEN 30
#define timeout_threshold 4


int bt_le_per_adv_set_response_data(struct bt_le_per_adv_sync *per_adv_sync,
				    const struct bt_le_per_adv_response_params *params,
				    const struct net_buf_simple *data);

void connected(struct bt_conn *conn, uint8_t err);
void disconnected(struct bt_conn *conn, uint8_t reason);
void sync_thread(void);
#endif
```
